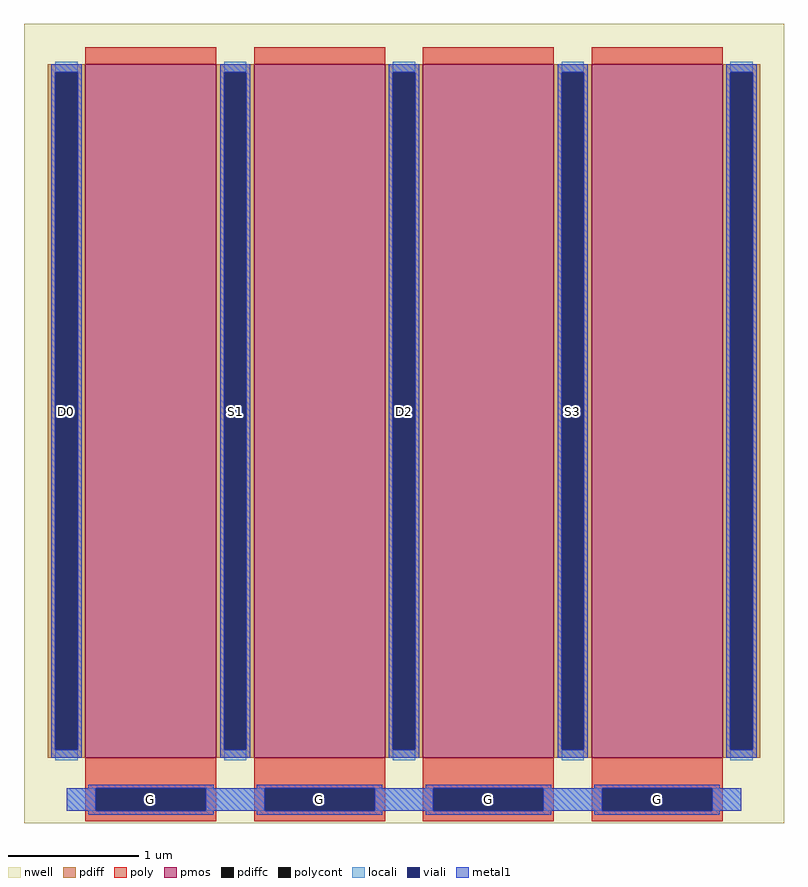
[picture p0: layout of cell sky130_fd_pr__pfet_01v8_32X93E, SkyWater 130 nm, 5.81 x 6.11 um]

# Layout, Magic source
magic
tech sky130A
magscale 1 2
<< nwell >>
rect -581 -594 581 628
<< pmos >>
rect -487 -494 -287 566
rect -229 -494 -29 566
rect 29 -494 229 566
rect 287 -494 487 566
<< pdiff >>
rect -545 554 -487 566
rect -545 -482 -533 554
rect -499 -482 -487 554
rect -545 -494 -487 -482
rect -287 554 -229 566
rect -287 -482 -275 554
rect -241 -482 -229 554
rect -287 -494 -229 -482
rect -29 554 29 566
rect -29 -482 -17 554
rect 17 -482 29 554
rect -29 -494 29 -482
rect 229 554 287 566
rect 229 -482 241 554
rect 275 -482 287 554
rect 229 -494 287 -482
rect 487 554 545 566
rect 487 -482 499 554
rect 533 -482 545 554
rect 487 -494 545 -482
<< pdiffc >>
rect -533 -482 -499 554
rect -275 -482 -241 554
rect -17 -482 17 554
rect 241 -482 275 554
rect 499 -482 533 554
<< poly >>
rect -487 566 -287 592
rect -229 566 -29 592
rect 29 566 229 592
rect 287 566 487 592
rect -487 -541 -287 -494
rect -487 -575 -471 -541
rect -303 -575 -287 -541
rect -487 -591 -287 -575
rect -229 -541 -29 -494
rect -229 -575 -213 -541
rect -45 -575 -29 -541
rect -229 -591 -29 -575
rect 29 -541 229 -494
rect 29 -575 45 -541
rect 213 -575 229 -541
rect 29 -591 229 -575
rect 287 -541 487 -494
rect 287 -575 303 -541
rect 471 -575 487 -541
rect 287 -591 487 -575
<< polycont >>
rect -471 -575 -303 -541
rect -213 -575 -45 -541
rect 45 -575 213 -541
rect 303 -575 471 -541
<< locali >>
rect -533 554 -499 570
rect -533 -498 -499 -482
rect -275 554 -241 570
rect -275 -498 -241 -482
rect -17 554 17 570
rect -17 -498 17 -482
rect 241 554 275 570
rect 241 -498 275 -482
rect 499 554 533 570
rect 499 -498 533 -482
rect -516 -575 -471 -541
rect -303 -575 -213 -541
rect -45 -575 45 -541
rect 213 -575 303 -541
rect 471 -575 516 -541
<< viali >>
rect -533 -482 -499 554
rect -275 -482 -241 554
rect -17 -482 17 554
rect 241 -482 275 554
rect 499 -482 533 554
rect -471 -575 -303 -541
rect -213 -575 -45 -541
rect 45 -575 213 -541
rect 303 -575 471 -541
<< metal1 >>
rect -539 554 -493 566
rect -539 -482 -533 554
rect -499 -482 -493 554
rect -539 -494 -493 -482
rect -281 554 -235 566
rect -281 -482 -275 554
rect -241 -482 -235 554
rect -281 -494 -235 -482
rect -23 554 23 566
rect -23 -482 -17 554
rect 17 -482 23 554
rect -23 -494 23 -482
rect 235 554 281 566
rect 235 -482 241 554
rect 275 -482 281 554
rect 235 -494 281 -482
rect 493 554 539 566
rect 493 -482 499 554
rect 533 -482 539 554
rect 493 -494 539 -482
rect -483 -541 -291 -535
rect -225 -541 -33 -535
rect 33 -541 225 -535
rect 291 -541 483 -535
rect -516 -575 -471 -541
rect -303 -575 -213 -541
rect -45 -575 45 -541
rect 213 -575 303 -541
rect 471 -575 516 -541
rect -483 -581 -291 -575
rect -225 -581 -33 -575
rect 33 -581 225 -575
rect 291 -581 483 -575
<< labels >>
rlabel pdiffc -516 36 -516 36 0 D0
port 1 nsew
rlabel polycont -387 -558 -387 -558 0 G
port 2 nsew
rlabel pdiffc -258 36 -258 36 0 S1
port 3 nsew
rlabel polycont -129 -558 -129 -558 0 G
port 2 nsew
rlabel pdiffc 0 36 0 36 0 D2
port 4 nsew
rlabel polycont 129 -558 129 -558 0 G
port 2 nsew
rlabel pdiffc 258 36 258 36 0 S3
port 5 nsew
rlabel polycont 387 -558 387 -558 0 G
port 2 nsew
<< properties >>
string gencell sky130_fd_pr__pfet_01v8
string library sky130
string parameters w 5.3 l 1 m 1 nf 4 diffcov 100 polycov 100 guard 0 glc 0 grc 0 gtc 0 gbc 0 tbcov 100 rlcov 100 topc 0 botc 1 poverlap 0 doverlap 1 lmin 0.15 wmin 0.42 class mosfet compatible {sky130_fd_pr__pfet_01v8  sky130_fd_pr__pfet_01v8_lvt sky130_fd_pr__pfet_01v8_hvt  sky130_fd_pr__pfet_g5v0d10v5} full_metal 0 conn_gates 1 viasrc 100 viadrn 100 viagate 100 viagb 0 viagr 0 viagl 0 viagt 0 doports 1
<< end >>
